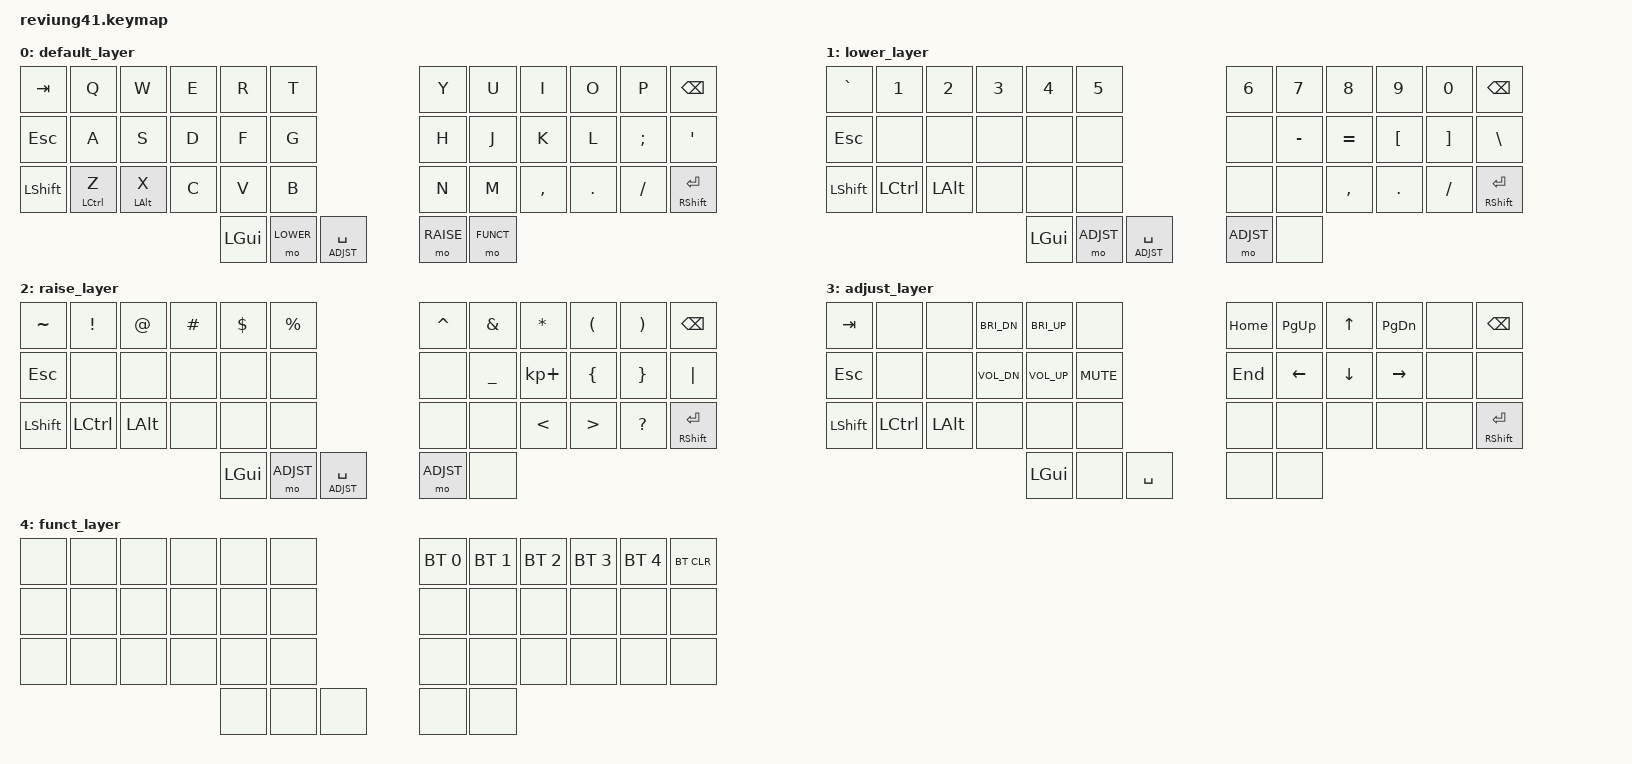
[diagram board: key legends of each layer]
/*
 * Copyright (c) 2020 The ZMK Contributors
 *
 * SPDX-License-Identifier: MIT
 */

#include <behaviors.dtsi>
#include <dt-bindings/zmk/keys.h>
#include <dt-bindings/zmk/bt.h>
#include <dt-bindings/zmk/rgb.h>

#define DEFAULT 0
#define LOWER   1
#define RAISE   2
#define ADJST   3
#define FUNCT   4

/ {
    behaviors {
        hm: homerow_mods {
            compatible = "zmk,behavior-hold-tap";
            label = "HOMEROW_MODS";
            #binding-cells = <2>;
            tapping-term-ms = <150>;
            quick_tap_ms = <0>;
            flavor = "tap-preferred";
            bindings = <&kp>, <&kp>;
        };
    };

        keymap {
                compatible = "zmk,keymap";

                default_layer {
// --------------------------------------------------------------------------------------------------
// | TAB  |  Q   |  W   |  E   |  R   |  T  |         |  Y  |   U   |  I   |  O   |  P  |   BKSP    |
// | ESC  |  A   |  S   |  D   |  F   |  G  |         |  H  |   J   |  K   |  L   |  ;  |    '      |
// | SHFT |CTL(Z)|ALT(X)|  C   |  V   |  B  |         |  N  |   M   |  ,   |  .   |  /  | SHFT(RET) |
//                             | GUI  | LWR |  SPACE  | RSE | FUNCT |
                        bindings = <
   &kp TAB   &kp Q       &kp W        &kp E   &kp R     &kp T                     &kp Y     &kp U     &kp I      &kp O      &kp P     &kp BSPC
   &kp ESC   &kp A       &kp S        &kp D   &kp F     &kp G                     &kp H     &kp J     &kp K      &kp L      &kp SEMI  &kp SQT
   &kp LSHFT &hm LCTRL Z &hm LALT X   &kp C   &kp V     &kp B                     &kp N     &kp M     &kp COMMA  &kp DOT    &kp FSLH  &mt RSHFT RET
                                              &kp LGUI  &mo LOWER &lt ADJST SPACE &mo RAISE &mo FUNCT
                        >;
                };

                lower_layer {
// ----------------------------------------------------------------------------------------
// |  `   |  1  |  2  |  3  |  4  |  5  |       |  6  |  7  |  8  |  9  |  0  |    BKSP   |
// | ESC  |     |     |     |     |     |       |     |  -  |  =  |  [  |  ]  |     \     |
// | SHFT | CTL | ALT |     |     |     |       |     | HOME|  ,  |  .  |  /  | SHFT(RET) |
//                          | GUI | ADJ | SPACE | ADJ |     |
                        bindings = <
   &kp GRAVE  &kp N1     &kp N2    &kp N3  &kp N4    &kp N5                    &kp N6     &kp N7     &kp N8     &kp N9    &kp N0    &kp BSPC
   &kp ESC    &none      &none     &none   &none     &none                     &none      &kp MINUS  &kp EQUAL  &kp LBKT  &kp RBKT  &kp BSLH
   &kp LSHFT  &kp LCTRL  &kp LALT  &none   &none     &none                     &none      &none      &kp COMMA  &kp DOT   &kp FSLH  &mt RSHFT RET
                                           &kp LGUI  &mo ADJST &lt ADJST SPACE &mo ADJST  &none
                        >;
                };
                
                raise_layer {
// ----------------------------------------------------------------------------------------
// |  ~   |  !  |  @  |  #  |  $  |  %  |       |  ^  |  &  |  *  |  (  |  )  |    BKSP   |
// | ESC  |     |     |     |     |     |       |     |  _  |  +  |  {  |  }  |    "|"    |
// | SHFT | CTL | ALT |     |     |     |       |     |     |  <  |  >  |  ?  | SHFT(RET) |
//                          | GUI | ADJ | SPACE | ADJ |     |
                        bindings = <
   &kp TILDE  &kp EXCL   &kp AT    &kp HASH  &kp DLLR   &kp PRCNT                 &kp CARET  &kp AMPS   &kp ASTRK    &kp LPAR  &kp RPAR   &kp BSPC
   &kp ESC    &none      &none     &none     &none      &none                     &none      &kp UNDER  &kp KP_PLUS  &kp LBRC  &kp RBRC   &kp PIPE
   &kp LSHFT  &kp LCTRL  &kp LALT  &none     &none      &none                     &none      &none      &kp LT       &kp GT    &kp QMARK  &mt RSHFT RET
                                             &kp LGUI   &mo ADJST &lt ADJST SPACE &mo ADJST  &none
                        >;
                };

                adjust_layer {
// -----------------------------------------------------------------------------------------------------------
// | TAB  |     |     |  BRIDN  |  BRIUP  |      |       |  HOME  |  PGUP  |  UP  |  PGDN  |     |   BKSP    |
// | ESC  |     |     |  VOLDN  |  VOLUP  | MUTE |       |  END   |  LEFT  |  DN  |  RGHT  |     |           |
// | SHFT | CTL | ALT |         |         |      |       |        |        |      |        |     | SHFT(RET) |
//                              |  LGUI   |      | SPACE |        |        |
                        bindings = <
   &kp TAB    &none      &none     &kp C_BRI_DN  &kp C_BRI_UP  &none                 &kp HOME  &kp PG_UP   &kp UP     &kp PG_DN  &none  &kp BSPC
   &kp ESC    &none      &none     &kp C_VOL_DN  &kp C_VOL_UP  &kp C_MUTE            &kp END   &kp LEFT    &kp DOWN   &kp RIGHT  &none  &none
   &kp LSHFT  &kp LCTRL  &kp LALT  &none         &none         &none                 &none     &none       &none      &none      &none  &mt RSHFT RET
                                                 &kp LGUI      &none      &kp SPACE  &none     &none
                        >;
                };

                funct_layer {
// ----------------------------------------------------------------------------------
// |     |     |     |     |     |     |     | BT1 | BT2 | BT3 | BT4 | BT5 | BT CLR |
// |     |     |     |     |     |     |     |     |     |     |     |     |        |
// |     |     |     |     |     |     |     |     |     |     |     |     |        |
//                         |     |     |     |     |     |
                        bindings = <
   &none    &none    &none    &none    &none    &none         &bt BT_SEL 0  &bt BT_SEL 1  &bt BT_SEL 2  &bt BT_SEL 3  &bt BT_SEL 4  &bt BT_CLR
   &none    &none    &none    &none    &none    &none         &none         &none         &none         &none         &none         &none
   &none    &none    &none    &none    &none    &none         &none         &none         &none         &none         &none         &none
                                       &none    &none  &none  &none         &none
                        >;
                };
        };
};
